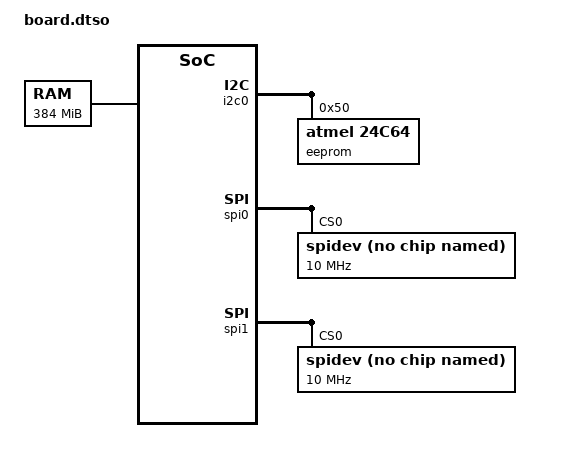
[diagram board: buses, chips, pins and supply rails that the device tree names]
/dts-v1/;
/plugin/;

/ {
	fragment@0 {
		target = <&i2c0>;
		__overlay__ {
			#address-cells = <1>;
			#size-cells = <0>;
			eeprom@50 {
				compatible = "atmel,24c64", "at24";
				reg = <0x50>;
				/* pagesize = <32>; */
				/* read-only; */
			};
		};
	};

	fragment@1 {
		target = <&spi0>;
		__overlay__ {
			#address-cells = <1>;
			#size-cells = <0>;
			spidev@0 {
				compatible = "rohm,dh2228fv";
				reg = <0x0>;
				spi-max-frequency = <10000000>;
			};
		};
	};

	fragment@2 {
		target = <&spi1>;
		__overlay__ {
			#address-cells = <1>;
			#size-cells = <0>;
			spidev@0 {
				compatible = "rohm,dh2228fv";
				reg = <0x0>;
				spi-max-frequency = <10000000>;
			};
		};
	};

	fragment@3 {
        target-path = "/";
        __overlay__ {
            #address-cells = <2>;
            #size-cells = <1>;

            memory@0 {
                device_type = "memory";
                /* addr_hi, addr_lo, size */
                reg = <0x0 0x0 0x18000000>;
            };
        };
	};
};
